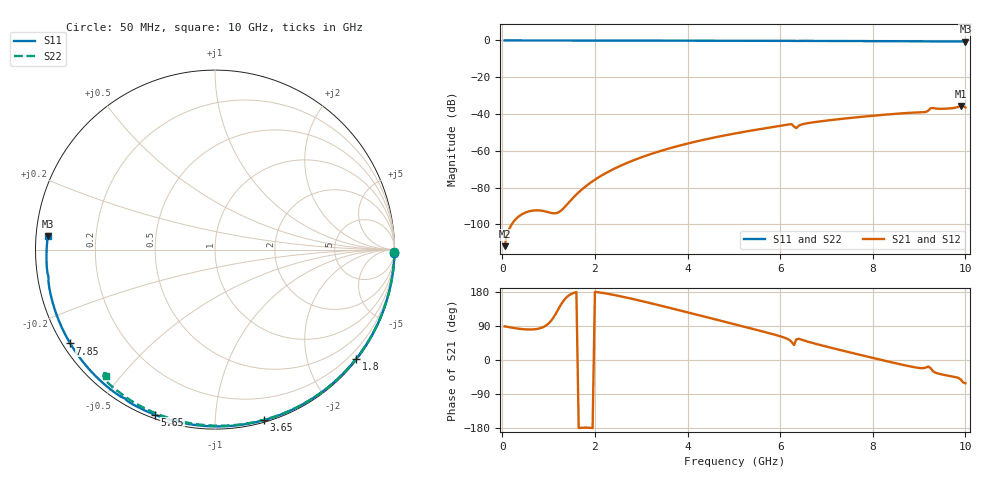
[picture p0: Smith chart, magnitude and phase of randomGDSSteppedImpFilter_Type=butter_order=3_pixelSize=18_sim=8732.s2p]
! freq	dB(S11)	phase(S11)	dB(S12)	phase(S12)
!  dB(S21)	phase(S21)	dB(S22)	phase(S22)
!S-par simulation data
#  GHz  S  DB  R 50
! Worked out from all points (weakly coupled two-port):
!   200 points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, 50 MHz to 10 GHz, reference 50 ohm
!   highest |S21| = -35.57 dB at 9.9 GHz (marker M1); lowest = -111.9 dB at 50 MHz (marker M2)
!   lowest |S11| = -0.6 dB at 10 GHz (marker M3), VSWR 29.57, Z = 1.69 + j1.97 ohm
!   |S11| at or under -10 dB: nowhere
!   |S22| runs from -0.8 to 0.0 dB; largest |S21 - S12| = 0
!   S11 on the Smith chart (normalised r, x): 50 MHz: open; 1.8 GHz: 0.03, -2.93; 3.65 GHz: 0.02, -1.33; 5.65 GHz: 0.02, -0.70; 7.85 GHz: 0.02, -0.30; 10 GHz: 0.03, +0.04
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0.05  -0.00 -1.1  -111.86 88.8  -111.86 88.8  -0.00 -0.8
0.85  -0.02 -18.0  -92.56 85.1  -92.56 85.1  -0.02 -12.9
1.75  -0.05 -36.7  -80.35 -178.6  -80.35 -178.6  -0.03 -26.3
1.8  -0.05 -37.7  -79.33 -178.5  -79.33 -178.5  -0.03 -27.1
2.1  -0.06 -43.8  -74.11 178.3  -74.11 178.3  -0.04 -31.5
2.45  -0.07 -50.8  -69.35 170.7  -69.35 170.7  -0.05 -36.6
3.4  -0.09 -69.3  -60.22 144.1  -60.22 144.1  -0.07 -50.1
3.65  -0.10 -74.0  -58.38 136.5  -58.38 136.5  -0.07 -53.6
5.05  -0.15 -99.5  -50.45 93.3  -50.45 93.3  -0.11 -72.6
5.65  -0.18 -110.0  -47.87 74.4  -47.87 74.4  -0.13 -80.3
6.25  -0.23 -120.4  -45.53 47.4  -45.53 47.4  -0.16 -87.9
6.35  -0.26 -121.7  -47.68 54.6  -47.68 54.6  -0.17 -89.2
6.45  -0.24 -123.5  -45.80 54.0  -45.80 54.0  -0.17 -90.4
6.7  -0.25 -127.7  -44.56 44.9  -44.56 44.9  -0.18 -93.5
7.85  -0.34 -147.1  -41.30 9.9  -41.30 9.9  -0.25 -107.3
8.35  -0.39 -155.5  -40.18 -4.6  -40.18 -4.6  -0.29 -113.2
9.1  -0.49 -168.5  -39.00 -21.3  -39.00 -21.3  -0.36 -122.0
9.15  -0.50 -169.4  -38.84 -19.8  -38.84 -19.8  -0.36 -122.6
9.25  -0.54 -170.9  -36.83 -21.7  -36.83 -21.7  -0.38 -123.7
9.65  -0.54 -178.1  -36.98 -42.1  -36.98 -42.1  -0.42 -128.5
9.9  -0.57 177.3  -35.57 -51.4  -35.57 -51.4  -0.69 -131.9
10  -0.59 175.5  -36.47 -61.4  -36.47 -61.4  -0.64 -130.9
